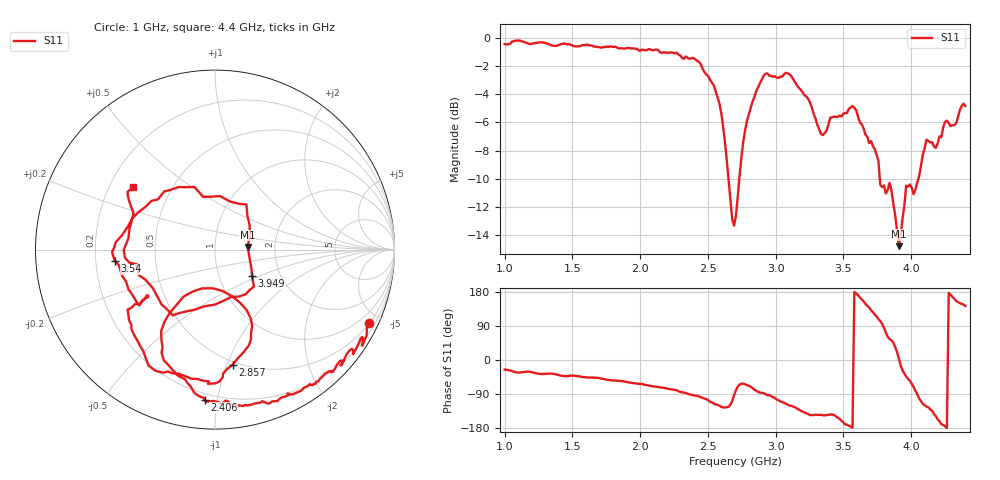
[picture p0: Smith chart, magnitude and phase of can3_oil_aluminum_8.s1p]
# MHz S MA R 50
!  freq  S11
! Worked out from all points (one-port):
!   250 points, 1 GHz to 4.4 GHz, reference 50 ohm
!   lowest |S11| = -14.8 dB at 3.908 GHz (marker M1), VSWR 1.45, Z = 72.2 + j2.2 ohm
!   |S11| at or under -10 dB: 2.652 GHz to 2.732 GHz (79.95 MHz wide, 2.97 % of centre); 3.769 GHz to 4.053 GHz (284.6 MHz wide, 7.28 % of centre)
!   S11 on the Smith chart (normalised r, x): 1 GHz: 0.51, -4.39; 2.406 GHz: 0.16, -0.92; 2.857 GHz: 0.47, -1.05; 3.54 GHz: 0.28, -0.05; 3.949 GHz: 1.44, -0.45; 4.4 GHz: 0.30, +0.31
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1000  0.9513 -25.4
1095.582  0.9773 -33.1
1177.51  0.9534 -30.7
1436.948  0.9555 -42.3
1860.241  0.9192 -55.6
2283.534  0.8723 -82.5
2406.426  0.8392 -94.0
2597.59  0.5449 -123.4
2679.518  0.2275 -108.3
2706.827  0.2341 -79.7
2775.1  0.4717 -64.0
2857.028  0.6482 -81.3
2938.956  0.7486 -93.0
3130.12  0.7133 -123.0
3253.012  0.5904 -145.5
3348.594  0.4521 -145.7
3430.522  0.526 -145.0
3539.759  0.5601 -173.3
3553.414  0.5662 -175.6
3730.924  0.4031 120.2
3771.888  0.3012 102.8
3840.161  0.3062 55.2
3908.434  0.1826 4.6
3949.398  0.2537 -35.6
3976.707  0.2965 -49.8
4126.908  0.4309 -125.0
4249.799  0.5034 -174.8
4400  0.5733 142.6
